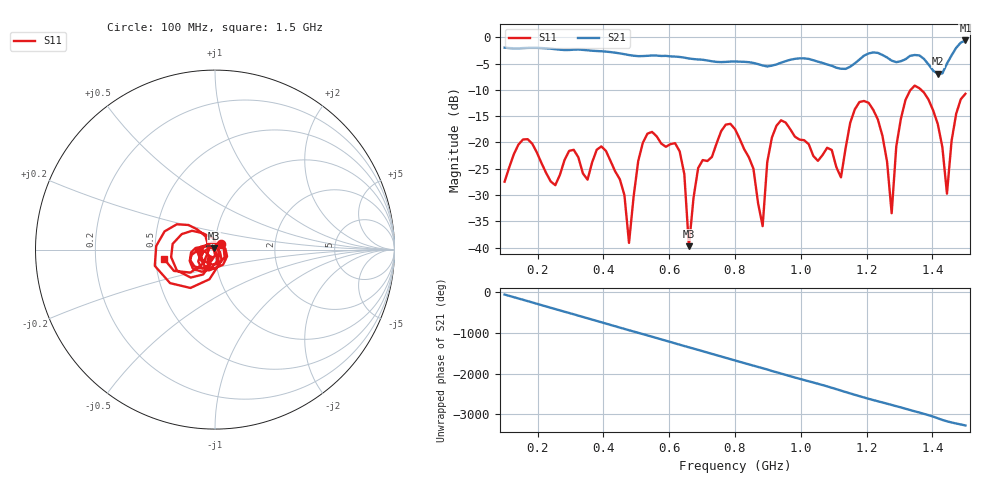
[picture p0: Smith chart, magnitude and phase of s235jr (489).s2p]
! NanoVNA-App
! Date: 2025-09-25 15:07:58
! Start: 100MHz Stop: 1,5GHz Points: 101
! S-Parameter data: F S11 S21 S12 S22
# Hz S RI R 50
!  Frequency  S11_Real  S11_Imag  S21_Real  S21_Imag  S12_Real  S12_Imag  S22_Real  S22_Imag
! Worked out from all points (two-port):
!   101 points, 100 MHz to 1.5 GHz, reference 50 ohm
!   highest |S21| = -0.59 dB at 1.5 GHz (marker M1); lowest = -6.9 dB at 1.416 GHz (marker M2)
!   |S21| within 3 dB of the highest: start of sweep to 599.8 MHz; 1.19 GHz to 1.255 GHz (64.85 MHz wide, 5.31 % of centre) (the widest 2 of 4)
!   lowest |S11| = -39.7 dB at 660 MHz (marker M3), VSWR 1.02, Z = 49.2 + j0.628 ohm
!   |S11| at or under -10 dB: start of sweep to 1.334 GHz; 1.365 GHz to end of sweep
!   S12 and S22 are empty: the file has one direction only
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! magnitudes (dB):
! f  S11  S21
! 100 MHz  -27.5  -2.0
! 156 MHz  -19.4  -2.0
! 338 MHz  -25.9  -2.4
! 408 MHz  -21.6  -2.7
! 478 MHz  -39.1  -3.4
! 520 MHz  -20.1  -3.6
! 576 MHz  -20.2  -3.5
! 632 MHz  -21.7  -3.7
! 660 MHz  -39.7  -4.0
! 688 MHz  -24.9  -4.2
! 800 MHz  -17.5  -4.6
! 884 MHz  -35.9  -5.4
! 926 MHz  -16.8  -5.2
! 1.038 GHz  -22.6  -4.4
! 1.122 GHz  -26.7  -6.0
! 1.206 GHz  -12.5  -3.1
! 1.276 GHz  -33.5  -4.4
! 1.29 GHz  -20.8  -4.7
! 1.332 GHz  -10.1  -3.5
! 1.416 GHz  -16.5  -6.9
! 1.444 GHz  -29.8  -5.0
! 1.5 GHz  -10.7  -0.6
